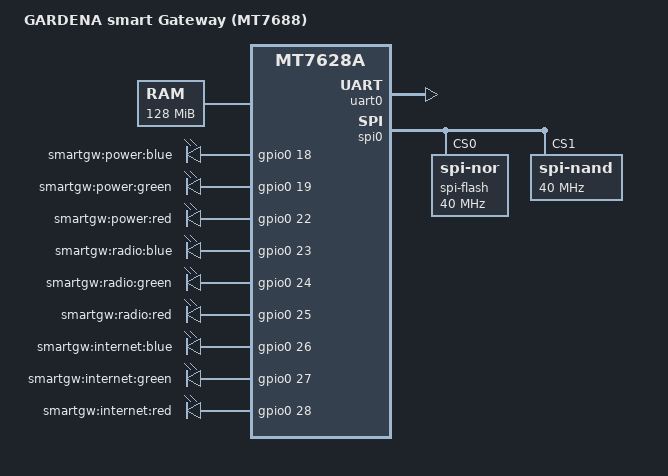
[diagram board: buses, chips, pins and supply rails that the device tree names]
// SPDX-License-Identifier: GPL-2.0
/*
 * Copyright (C) 2018 Stefan Roese <sr@denx.de>
 */

/dts-v1/;

#include "mt7628a.dtsi"
#include <dt-bindings/gpio/gpio.h>

/ {
	compatible = "gardena,smart-gateway-mt7688", "ralink,mt7628a-soc";
	model = "GARDENA smart Gateway (MT7688)";

	aliases {
		serial0 = &uart0;
		spi0 = &spi0;
	};

	memory@0 {
		device_type = "memory";
		reg = <0x0 0x08000000>;
	};

	leds {
		compatible = "gpio-leds";

		power_blue {
			label = "smartgw:power:blue";
			gpios = <&gpio0 18 GPIO_ACTIVE_HIGH>;
			default-state = "off";
		};

		power_green {
			label = "smartgw:power:green";
			gpios = <&gpio0 19 GPIO_ACTIVE_HIGH>;
			default-state = "on";
		};

		power_red {
			label = "smartgw:power:red";
			gpios = <&gpio0 22 GPIO_ACTIVE_HIGH>;
			default-state = "off";
		};

		radio_blue {
			label = "smartgw:radio:blue";
			gpios = <&gpio0 23 GPIO_ACTIVE_HIGH>;
			default-state = "off";
		};

		radio_green {
			label = "smartgw:radio:green";
			gpios = <&gpio0 24 GPIO_ACTIVE_HIGH>;
			default-state = "off";
		};

		radio_red {
			label = "smartgw:radio:red";
			gpios = <&gpio0 25 GPIO_ACTIVE_HIGH>;
			default-state = "off";
		};

		internet_blue {
			label = "smartgw:internet:blue";
			gpios = <&gpio0 26 GPIO_ACTIVE_HIGH>;
			default-state = "off";
		};

		internet_green {
			label = "smartgw:internet:green";
			gpios = <&gpio0 27 GPIO_ACTIVE_HIGH>;
			default-state = "off";
		};

		internet_red {
			label = "smartgw:internet:red";
			gpios = <&gpio0 28 GPIO_ACTIVE_HIGH>;
			default-state = "off";
		};
	};

	chosen {
		stdout-path = &uart0;
	};
};

&pinctrl {
	state_default: pin_state {
		p0led {
			groups = "p0led_a";
			function = "led";
		};
	};
};

&uart0 {
	status = "okay";
};

&spi0 {
	status = "okay";
	num-cs = <2>;

	pinctrl-names = "default";
	pinctrl-0 = <&spi_dual_pins>;

	spi-flash@0 {
		#address-cells = <1>;
		#size-cells = <1>;
		compatible = "jedec,spi-nor";
		spi-max-frequency = <40000000>;
		reg = <0>;
	};

	spi-nand@1 {
		#address-cells = <1>;
		#size-cells = <1>;
		compatible = "spi-nand";
		spi-max-frequency = <40000000>;
		reg = <1>;
	};
};

&eth {
	pinctrl-names = "default";
	pinctrl-0 = <&ephy_iot_mode>;
	mediatek,poll-link-phy = <0>;
};
